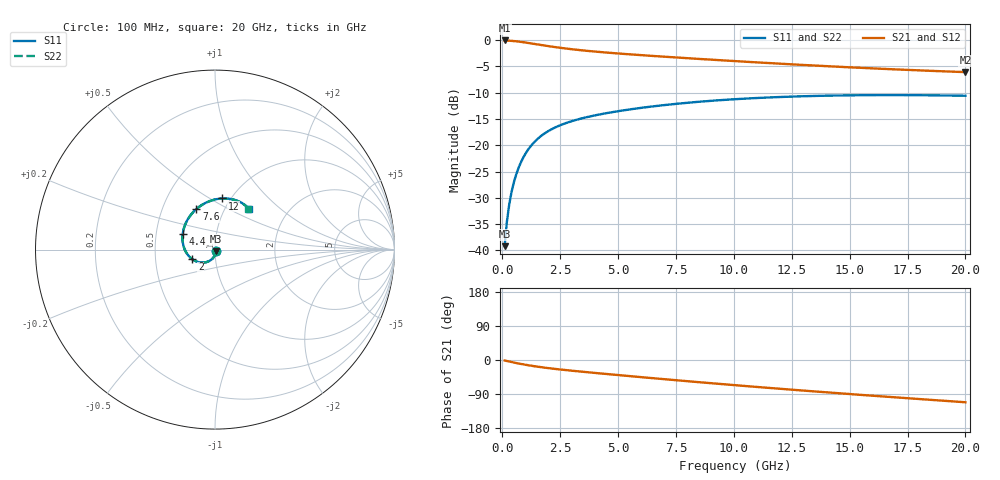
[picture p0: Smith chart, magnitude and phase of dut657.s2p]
! Touchstone file exported from HFSS 2024.1.0
!  File:  C:/UserFiles/LocalFiles/RDL_TSV_Batchsim/temp_RDL_TSV_657_1779810882.aedt
!  Generated:  12:09:31 AM May 27, 2026
!  Design:  RDL_TSV
!  Project:  temp_RDL_TSV_657_1779810882
!  Setup:  Setup1
!  Solution:  Sweep
! Variables:
!  dtsv = 12.84um
!  hbump = 3um
!  htsv = 99.43um
!  ldown = 178.31um
!  lrdl = 118.83um
!  p = 40
!  p1 = 54.91um
!  rhole = 10um
!  subl = 1010.25um
!  t = 450um
!  tdown = 3um
!  trdl = 2.82um
!  viad = 10um
!  wdown = 26.15um
!  wrdl = 19.39um
!  xbump = 18um
# GHz S MA R 50.000000
! Terminal data exported
! Port[1] = TM1_1_T1
! Port[2] = TM1_4_T1
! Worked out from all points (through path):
!   200 points, 100 MHz to 20 GHz, reference 50 ohm
!   highest |S21| = -0.06 dB at 100 MHz (marker M1); lowest = -6.1 dB at 20 GHz (marker M2)
!   group delay of S21, straight-line fit = 14.3 ps
!   lowest |S11| = -39.2 dB at 100 MHz (marker M3), VSWR 1.02, Z = 50.6 - j0.936 ohm
!   |S11| at or under -10 dB: start of sweep to end of sweep
!   |S22| runs from -39.2 to -10.5 dB; largest |S21 - S12| = 2.8e-14
!   S11 on the Smith chart (normalised r, x): 100 MHz: 1.01, -0.02; 2 GHz: 0.77, -0.08; 4.4 GHz: 0.69, +0.13; 7.6 GHz: 0.74, +0.36; 12 GHz: 0.92, +0.57; 20 GHz: 1.28, +0.64
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0.1  0.01098 -57.4  0.9929 -1.4  0.9929 -1.4  0.01098 -57.4
! Gamma 0 0 0 0
! Port Impedance 50 0 50 0
0.2  0.0189 -77.3  0.9911 -2.8  0.9911 -2.8  0.0189 -77.2
0.3  0.0274 -87.5  0.9882 -4.1  0.9882 -4.1  0.0274 -87.5
0.4  0.03599 -94.8  0.9845 -5.4  0.9845 -5.4  0.03599 -94.7
0.5  0.04449 -100.7  0.98 -6.7  0.98 -6.7  0.04449 -100.7
0.6  0.05279 -106.0  0.9748 -7.9  0.9748 -7.9  0.05279 -106.0
0.7  0.06083 -110.8  0.969 -9.2  0.969 -9.2  0.06084 -110.8
0.9  0.07603 -119.6  0.956 -11.5  0.956 -11.5  0.07603 -119.6
1.2  0.09635 -131.3  0.9342 -14.6  0.9342 -14.6  0.09635 -131.3
1.6  0.1189 -144.9  0.9042 -18.3  0.9042 -18.3  0.1189 -144.9
2  0.1371 -156.8  0.8761 -21.5  0.8761 -21.5  0.137 -156.8
2.7  0.1612 -174.4  0.8344 -26.4  0.8344 -26.4  0.1612 -174.3
3.5  0.1818 169.1  0.7974 -31.2  0.7974 -31.2  0.1817 169.2
4.4  0.2003 153.7  0.7649 -36.4  0.7649 -36.4  0.2 153.8
5.5  0.2193 138.0  0.7327 -42.5  0.7327 -42.5  0.2189 138.1
6.8  0.2385 122.7  0.7001 -49.6  0.7001 -49.6  0.2381 122.8
7.6  0.2489 114.6  0.6819 -53.9  0.6819 -53.9  0.2484 114.6
10.1  0.2748 93.9  0.6307 -66.7  0.6307 -66.7  0.274 94.0
12  0.2879 81.8  0.5967 -76.0  0.5967 -76.0  0.287 81.8
13.4  0.2943 74.3  0.5743 -82.6  0.5743 -82.6  0.2933 74.3
16.7  0.3001 60.4  0.53 -97.4  0.53 -97.4  0.2989 60.4
20  0.2958 50.7  0.4964 -111.5  0.4964 -111.5  0.2945 50.7
